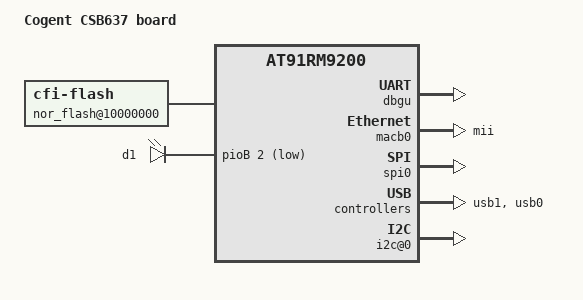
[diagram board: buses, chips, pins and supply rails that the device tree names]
/*
 * at91-csb637.dts - Device Tree file for Cogent CSB637 board
 *
 * Copyright (C) 2013 Jean-Christophe PLAGNIOL-VILLARD <plagnioj@jcrosoft.com>
 *
 * Licensed under GPLv2 only
 */
/dts-v1/;
#include "at91rm9200.dtsi"

/ {
	model = "Cogent CSB637 board";
	compatible = "cogent,csb637", "atmel,at91rm9200";

	clocks {
		#address-cells = <1>;
		#size-cells = <1>;
		ranges;

		main_clock: clock@0 {
			compatible = "atmel,osc", "fixed-clock";
			clock-frequency = <3686400>;
		};
	};

	ahb {
		apb {
			dbgu: serial@fffff200 {
				status = "okay";
			};

			macb0: ethernet@fffbc000 {
				phy-mode = "mii";
				status = "okay";
				/* phy irq on PC0 */
				pinctrl-0 = <&pinctrl_macb_rmii &pinctrl_macb_rmii_mii>;
			};

			spi0: spi@fffe0000 {
				status = "okay";
			};

			usb1: gadget@fffb0000 {
				status = "okay";
				atmel,vbus-gpio = <&pioB 28 GPIO_ACTIVE_HIGH>;
				atmel,pullup-gpio = <&pioB 1 GPIO_ACTIVE_HIGH>;
			};
		};

		usb0: ohci@00300000 {
			num-ports = <2>;
			status = "okay";
		};

		nor_flash@10000000 {
			compatible = "cfi-flash";
			reg = <0x10000000 0x1000000>;
			linux,mtd-name = "physmap-flash.0";
			bank-width = <2>;
			#address-cells = <1>;
			#size-cells = <1>;

			boot@0 {
				label = "uMON flash";
				reg = <0x00000 0x1000000>;
			};
		};
	};

	leds {
		compatible = "gpio-leds";

		d1 {
			label = "d1";
			gpios = <&pioB 2 GPIO_ACTIVE_LOW>;
			linux,default-trigger = "heartbeat";
		};
	};

	i2c@0 {
		status = "okay";
	};
};
